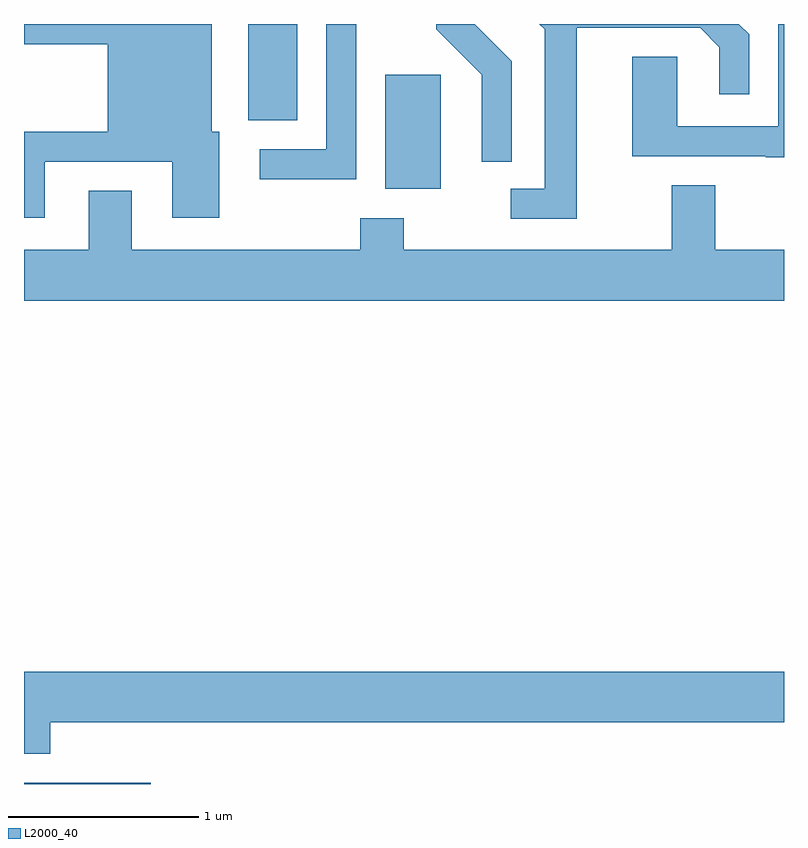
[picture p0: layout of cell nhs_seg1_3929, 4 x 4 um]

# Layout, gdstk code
import gdstk
lib = gdstk.Library(unit=1e-6, precision=1e-09)
def R(c, l, rs):  # rectangles x0, y0, x1, y1
    for r in rs: c.add(gdstk.rectangle(r[:2], r[2:], *l))
def P(c, l, *ps):  # polygons
    for p in ps: c.add(gdstk.Polygon(p, *l))
L2000_40 = (2000, 40)

nhs_seg1_3929 = lib.new_cell('nhs_seg1_3929')
R(nhs_seg1_3929, L2000_40, [(303.611,883.712,304.278,883.719), (305.511,886.846,305.804,887.444), (304.791,887.206,305.049,887.712)])
P(nhs_seg1_3929, L2000_40, [(305.359,887.712),(305.201,887.712),(305.201,887.054),(304.853,887.054),(304.853,886.896),(305.359,886.896)],
  [(306.179,887.517),(305.984,887.712),(305.781,887.712),(305.781,887.684),(306.021,887.444),(306.021,886.988),(306.179,886.988)],
  [(307.611,887.712),(307.581,887.712),(307.581,887.174),(307.049,887.174),(307.049,887.539),(306.811,887.539),(306.811,887.016),(307.515,887.016),(307.515,887.011),(307.611,887.011)],
  [(303.719,886.986),(304.391,886.986),(304.391,886.691),(304.639,886.691),(304.639,887.144),(304.599,887.144),(304.599,887.712),(303.611,887.712),(303.611,887.606),(304.051,887.606),(304.051,887.144),(303.611,887.144),(303.611,886.691),(303.719,886.691)],
  [(306.519,887.691),(307.169,887.691),(307.271,887.589),(307.271,887.343),(307.429,887.343),(307.429,887.657),(307.374,887.712),(306.323,887.712),(306.351,887.684),(306.351,886.844),(306.173,886.844),(306.173,886.686),(306.519,886.686)],
  [(307.611,886.524),(307.249,886.524),(307.249,886.864),(307.021,886.864),(307.021,886.524),(305.609,886.524),(305.609,886.689),(305.381,886.689),(305.381,886.524),(304.179,886.524),(304.179,886.834),(303.951,886.834),(303.951,886.524),(303.611,886.524),(303.611,886.256),(307.611,886.256)],
  [(303.749,884.036),(307.611,884.036),(307.611,884.304),(303.611,884.304),(303.611,883.871),(303.749,883.871)])

lib.write_gds('nhs_seg1_3929.gds')
